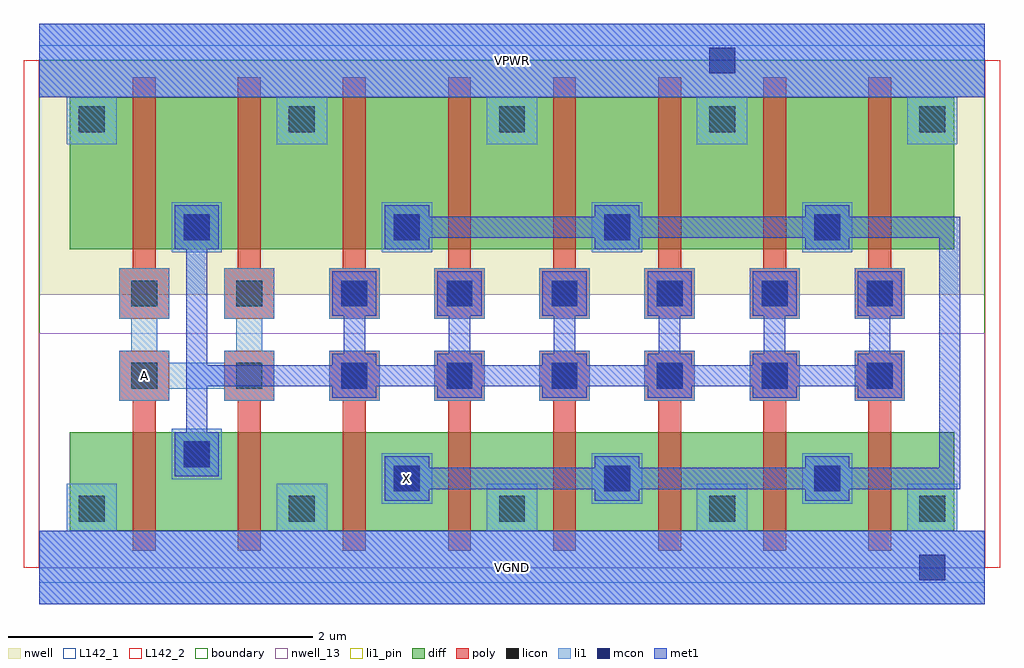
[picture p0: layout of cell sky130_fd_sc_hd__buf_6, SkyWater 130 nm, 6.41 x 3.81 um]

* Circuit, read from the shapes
.subckt sky130_fd_sc_hd__buf_6 A VGND VPWR X
XM1 n1 A VGND VSUBS sky130_fd_pr__nfet_01v8 w=0.65 l=0.15 m=2
XM2 X n1 VGND VSUBS sky130_fd_pr__nfet_01v8 w=0.65 l=0.15 m=6
XM3 n1 A VPWR n2 sky130_fd_pr__pfet_01v8 w=1 l=0.15 m=2
XM4 X n1 VPWR n2 sky130_fd_pr__pfet_01v8 w=1 l=0.15 m=6
.ends

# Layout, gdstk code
import gdstk
lib = gdstk.Library(unit=1e-6, precision=1e-09)
def R(c, l, rs):  # rectangles x0, y0, x1, y1
    for r in rs: c.add(gdstk.rectangle(r[:2], r[2:], *l))
def A(c, l, x, y, w, h, nx, ny, dx, dy):  # array of equal rectangles
    R(c, l, [(x+i*dx, y+j*dy, x+i*dx+w, y+j*dy+h) for i in range(nx) for j in range(ny)])
def P(c, l, *ps):  # polygons
    for p in ps: c.add(gdstk.Polygon(p, *l))
nwell_13 = (64, 13)
nwell = (64, 20)
diff = (65, 20)
poly = (66, 20)
licon = (66, 44)
li1_pin = (67, 16)
li1 = (67, 20)
mcon = (67, 44)
met1 = (68, 20)
L142_1 = (142, 1)
L142_2 = (142, 2)
boundary = (235, 4)

sky130_fd_sc_hd__buf_6 = lib.new_cell('sky130_fd_sc_hd__buf_6')
R(sky130_fd_sc_hd__buf_6, nwell_13, [(0,0,6.21,1.54)])
R(sky130_fd_sc_hd__buf_6, nwell, [(0,1.79,6.21,3.33)])
A(sky130_fd_sc_hd__buf_6, diff, 0.615, 0.24, 0.69, 0.65, 7, 1, 0.69, 0)
A(sky130_fd_sc_hd__buf_6, diff, 0.615, 2.09, 0.69, 1, 7, 1, 0.69, 0)
R(sky130_fd_sc_hd__buf_6, diff, [(0.2,0.24,6.01,0.89), (0.2,0.24,0.615,0.89), (5.445,0.24,6.01,0.89), (0.2,2.09,6.01,3.09), (0.2,2.09,0.615,3.09), (5.445,2.09,6.01,3.09)])
P(sky130_fd_sc_hd__buf_6, poly, [(0.615,0.11),(0.615,1.095),(0.525,1.095),(0.525,1.425),(0.855,1.425),(0.855,1.095),(0.765,1.095),(0.765,0.11)],
  [(1.305,0.11),(1.305,1.095),(1.215,1.095),(1.215,1.425),(1.545,1.425),(1.545,1.095),(1.455,1.095),(1.455,0.11)],
  [(0.525,1.635),(0.525,1.965),(0.615,1.965),(0.615,3.22),(0.765,3.22),(0.765,1.965),(0.855,1.965),(0.855,1.635)],
  [(1.215,1.635),(1.215,1.965),(1.305,1.965),(1.305,3.22),(1.455,3.22),(1.455,1.965),(1.545,1.965),(1.545,1.635)],
  [(1.995,0.11),(1.995,1.095),(1.905,1.095),(1.905,1.425),(2.235,1.425),(2.235,1.095),(2.145,1.095),(2.145,0.11)],
  [(2.685,0.11),(2.685,1.095),(2.595,1.095),(2.595,1.425),(2.925,1.425),(2.925,1.095),(2.835,1.095),(2.835,0.11)],
  [(3.375,0.11),(3.375,1.095),(3.285,1.095),(3.285,1.425),(3.615,1.425),(3.615,1.095),(3.525,1.095),(3.525,0.11)],
  [(4.065,0.11),(4.065,1.095),(3.975,1.095),(3.975,1.425),(4.305,1.425),(4.305,1.095),(4.215,1.095),(4.215,0.11)],
  [(4.755,0.11),(4.755,1.095),(4.665,1.095),(4.665,1.425),(4.995,1.425),(4.995,1.095),(4.905,1.095),(4.905,0.11)],
  [(5.445,0.11),(5.445,1.095),(5.355,1.095),(5.355,1.425),(5.685,1.425),(5.685,1.095),(5.595,1.095),(5.595,0.11)],
  [(1.905,1.635),(1.905,1.965),(1.995,1.965),(1.995,3.22),(2.145,3.22),(2.145,1.965),(2.235,1.965),(2.235,1.635)],
  [(2.595,1.635),(2.595,1.965),(2.685,1.965),(2.685,3.22),(2.835,3.22),(2.835,1.965),(2.925,1.965),(2.925,1.635)],
  [(3.285,1.635),(3.285,1.965),(3.375,1.965),(3.375,3.22),(3.525,3.22),(3.525,1.965),(3.615,1.965),(3.615,1.635)],
  [(3.975,1.635),(3.975,1.965),(4.065,1.965),(4.065,3.22),(4.215,3.22),(4.215,1.965),(4.305,1.965),(4.305,1.635)],
  [(4.665,1.635),(4.665,1.965),(4.755,1.965),(4.755,3.22),(4.905,3.22),(4.905,1.965),(4.995,1.965),(4.995,1.635)],
  [(5.355,1.635),(5.355,1.965),(5.445,1.965),(5.445,3.22),(5.595,3.22),(5.595,1.965),(5.685,1.965),(5.685,1.635)])
A(sky130_fd_sc_hd__buf_6, licon, 0.26, 0.3, 0.17, 0.17, 5, 2, 1.38, 2.56)
A(sky130_fd_sc_hd__buf_6, licon, 2.33, 0.5, 0.17, 0.17, 3, 1, 1.38, 0)
A(sky130_fd_sc_hd__buf_6, licon, 0.605, 1.175, 0.17, 0.17, 8, 2, 0.69, 0.54)
A(sky130_fd_sc_hd__buf_6, licon, 0.95, 2.15, 0.17, 0.17, 4, 1, 1.38, 0)
R(sky130_fd_sc_hd__buf_6, licon, [(0.95,0.66,1.12,0.83)])
R(sky130_fd_sc_hd__buf_6, li1_pin, [(0,-0.24,6.21,0.24), (2.25,0.42,2.58,0.75), (0,3.09,6.21,3.57)])
P(sky130_fd_sc_hd__buf_6, li1_pin, [(0.525,1.095),(0.525,1.425),(0.605,1.425),(0.605,1.635),(0.525,1.635),(0.525,1.965),(0.855,1.965),(0.855,1.635),(0.775,1.635),(0.775,1.425),(0.855,1.425),(0.855,1.345),(1.215,1.345),(1.215,1.425),(1.295,1.425),(1.295,1.635),(1.215,1.635),(1.215,1.965),(1.545,1.965),(1.545,1.635),(1.465,1.635),(1.465,1.425),(1.545,1.425),(1.545,1.095),(1.215,1.095),(1.215,1.175),(0.855,1.175),(0.855,1.095)])
A(sky130_fd_sc_hd__buf_6, li1, 2.25, 0.42, 0.33, 0.33, 3, 1, 1.38, 0)
A(sky130_fd_sc_hd__buf_6, li1, 1.905, 1.095, 0.33, 0.33, 6, 2, 0.69, 0.54)
A(sky130_fd_sc_hd__buf_6, li1, 0.87, 2.07, 0.33, 0.33, 4, 1, 1.38, 0)
R(sky130_fd_sc_hd__buf_6, li1, [(0.87,0.58,1.2,0.91)])
P(sky130_fd_sc_hd__buf_6, li1, [(0.18,2.78),(0.18,3.09),(0,3.09),(0,3.57),(6.21,3.57),(6.21,3.09),(6.03,3.09),(6.03,2.78),(5.7,2.78),(5.7,3.09),(4.65,3.09),(4.65,2.78),(4.32,2.78),(4.32,3.09),(3.27,3.09),(3.27,2.78),(2.94,2.78),(2.94,3.09),(1.89,3.09),(1.89,2.78),(1.56,2.78),(1.56,3.09),(0.51,3.09),(0.51,2.78)],
  [(0,-0.24),(0,0.24),(0.18,0.24),(0.18,0.55),(0.51,0.55),(0.51,0.24),(1.56,0.24),(1.56,0.55),(1.89,0.55),(1.89,0.24),(2.94,0.24),(2.94,0.55),(3.27,0.55),(3.27,0.24),(4.32,0.24),(4.32,0.55),(4.65,0.55),(4.65,0.24),(5.7,0.24),(5.7,0.55),(6.03,0.55),(6.03,0.24),(6.21,0.24),(6.21,-0.24)],
  [(0.525,1.095),(0.525,1.425),(0.605,1.425),(0.605,1.635),(0.525,1.635),(0.525,1.965),(0.855,1.965),(0.855,1.635),(0.775,1.635),(0.775,1.425),(0.855,1.425),(0.855,1.345),(1.215,1.345),(1.215,1.425),(1.295,1.425),(1.295,1.635),(1.215,1.635),(1.215,1.965),(1.545,1.965),(1.545,1.635),(1.465,1.635),(1.465,1.425),(1.545,1.425),(1.545,1.095),(1.215,1.095),(1.215,1.175),(0.855,1.175),(0.855,1.095)])
A(sky130_fd_sc_hd__buf_6, mcon, 2.33, 0.5, 0.17, 0.17, 3, 1, 1.38, 0)
A(sky130_fd_sc_hd__buf_6, mcon, 1.985, 1.175, 0.17, 0.17, 6, 2, 0.69, 0.54)
A(sky130_fd_sc_hd__buf_6, mcon, 0.95, 2.15, 0.17, 0.17, 4, 1, 1.38, 0)
R(sky130_fd_sc_hd__buf_6, mcon, [(5.78,-0.085,5.95,0.085), (0.95,0.66,1.12,0.83), (4.4,3.245,4.57,3.415)])
R(sky130_fd_sc_hd__buf_6, met1, [(0,-0.24,6.21,0.24), (0,3.09,6.21,3.57)])
P(sky130_fd_sc_hd__buf_6, met1, [(0.89,0.6),(0.89,0.89),(0.965,0.89),(0.965,2.09),(0.89,2.09),(0.89,2.38),(1.18,2.38),(1.18,2.09),(1.105,2.09),(1.105,1.33),(1.925,1.33),(1.925,1.405),(2,1.405),(2,1.655),(1.925,1.655),(1.925,1.945),(2.215,1.945),(2.215,1.655),(2.14,1.655),(2.14,1.405),(2.215,1.405),(2.215,1.33),(2.615,1.33),(2.615,1.405),(2.69,1.405),(2.69,1.655),(2.615,1.655),(2.615,1.945),(2.905,1.945),(2.905,1.655),(2.83,1.655),(2.83,1.405),(2.905,1.405),(2.905,1.33),(3.305,1.33),(3.305,1.405),(3.38,1.405),(3.38,1.655),(3.305,1.655),(3.305,1.945),(3.595,1.945),(3.595,1.655),(3.52,1.655),(3.52,1.405),(3.595,1.405),(3.595,1.33),(3.995,1.33),(3.995,1.405),(4.07,1.405),(4.07,1.655),(3.995,1.655),(3.995,1.945),(4.285,1.945),(4.285,1.655),(4.21,1.655),(4.21,1.405),(4.285,1.405),(4.285,1.33),(4.685,1.33),(4.685,1.405),(4.76,1.405),(4.76,1.655),(4.685,1.655),(4.685,1.945),(4.975,1.945),(4.975,1.655),(4.9,1.655),(4.9,1.405),(4.975,1.405),(4.975,1.33),(5.375,1.33),(5.375,1.405),(5.45,1.405),(5.45,1.655),(5.375,1.655),(5.375,1.945),(5.665,1.945),(5.665,1.655),(5.59,1.655),(5.59,1.405),(5.665,1.405),(5.665,1.115),(5.375,1.115),(5.375,1.19),(4.975,1.19),(4.975,1.115),(4.685,1.115),(4.685,1.19),(4.285,1.19),(4.285,1.115),(3.995,1.115),(3.995,1.19),(3.595,1.19),(3.595,1.115),(3.305,1.115),(3.305,1.19),(2.905,1.19),(2.905,1.115),(2.615,1.115),(2.615,1.19),(2.215,1.19),(2.215,1.115),(1.925,1.115),(1.925,1.19),(1.105,1.19),(1.105,0.89),(1.18,0.89),(1.18,0.6)],
  [(2.27,0.44),(2.27,0.73),(2.56,0.73),(2.56,0.655),(3.65,0.655),(3.65,0.73),(3.94,0.73),(3.94,0.655),(5.03,0.655),(5.03,0.73),(5.32,0.73),(5.32,0.655),(5.91,0.655),(5.91,2.165),(5.32,2.165),(5.32,2.09),(5.03,2.09),(5.03,2.165),(3.94,2.165),(3.94,2.09),(3.65,2.09),(3.65,2.165),(2.56,2.165),(2.56,2.09),(2.27,2.09),(2.27,2.38),(2.56,2.38),(2.56,2.305),(3.65,2.305),(3.65,2.38),(3.94,2.38),(3.94,2.305),(5.03,2.305),(5.03,2.38),(5.32,2.38),(5.32,2.305),(6.05,2.305),(6.05,0.515),(5.32,0.515),(5.32,0.44),(5.03,0.44),(5.03,0.515),(3.94,0.515),(3.94,0.44),(3.65,0.44),(3.65,0.515),(2.56,0.515),(2.56,0.44)])
R(sky130_fd_sc_hd__buf_6, L142_1, [(0,-0.1,6.21,0), (0,3.33,6.21,3.43)])
R(sky130_fd_sc_hd__buf_6, L142_2, [(-0.1,0,0,3.33), (6.21,0,6.31,3.33)])
R(sky130_fd_sc_hd__buf_6, boundary, [(0,0,6.21,3.33)])
sky130_fd_sc_hd__buf_6.add(gdstk.Label('X', (2.415,0.585), layer=67, texttype=5))
sky130_fd_sc_hd__buf_6.add(gdstk.Label('A', (0.69,1.26), layer=67, texttype=5))
sky130_fd_sc_hd__buf_6.add(gdstk.Label('VGND', (3.105,0), layer=67, texttype=5))
sky130_fd_sc_hd__buf_6.add(gdstk.Label('VPWR', (3.105,3.33), layer=67, texttype=5))
sky130_fd_sc_hd__buf_6.add(gdstk.Label('VGND', (3.105,0), layer=68, texttype=5))
sky130_fd_sc_hd__buf_6.add(gdstk.Label('VPWR', (3.105,3.33), layer=68, texttype=5))

lib.write_gds('sky130_fd_sc_hd__buf_6.gds')
